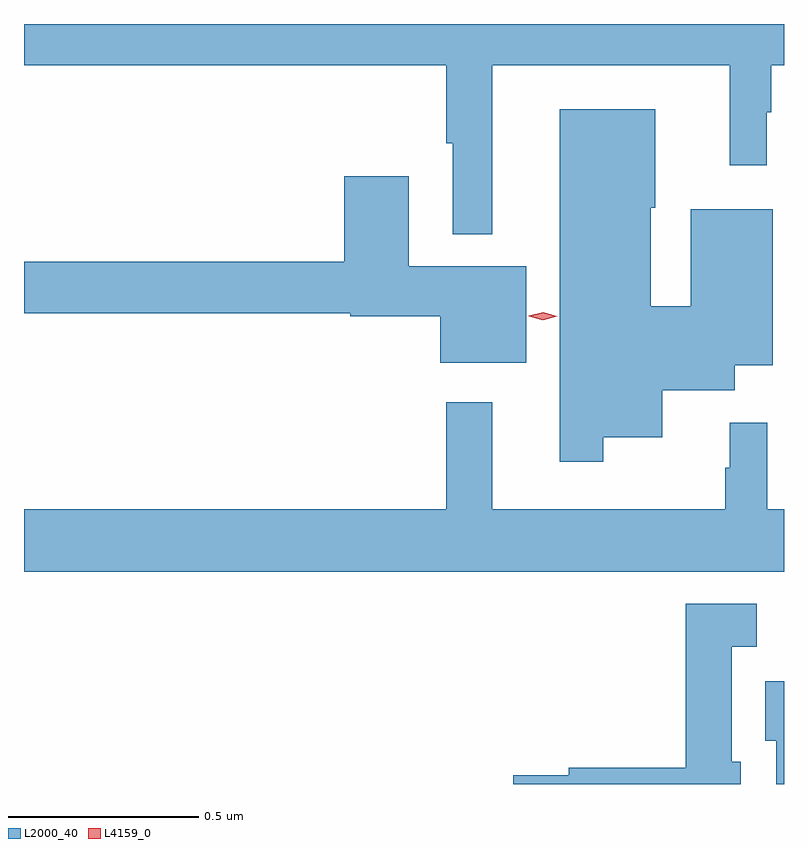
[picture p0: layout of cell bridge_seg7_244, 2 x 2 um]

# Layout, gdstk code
import gdstk
lib = gdstk.Library(unit=1e-6, precision=1e-09)
def P(c, l, *ps):  # polygons
    for p in ps: c.add(gdstk.Polygon(p, *l))
L2000_40 = (2000, 40)
L4159_0 = (4159, 0)

bridge_seg7_244 = lib.new_cell('bridge_seg7_244')
P(bridge_seg7_244, L2000_40, [(268.285,1063.22),(268.91,1063.22),(268.91,1062.957),(269.008,1062.957),(269.008,1063.097),(269.02,1063.097),(269.02,1063.22),(269.053,1063.22),(269.053,1063.329),(267.053,1063.329),(267.053,1063.22),(268.164,1063.22),(268.164,1063.015),(268.181,1063.015),(268.181,1062.776),(268.285,1062.776)],
  [(268.577,1062.242),(268.732,1062.242),(268.732,1062.365),(268.924,1062.365),(268.924,1062.431),(269.023,1062.431),(269.023,1062.841),(268.808,1062.841),(268.808,1062.586),(268.702,1062.586),(268.702,1062.846),(268.714,1062.846),(268.714,1063.105),(268.463,1063.105),(268.463,1062.177),(268.577,1062.177)],
  [(268.375,1062.691),(268.066,1062.691),(268.066,1062.928),(267.896,1062.928),(267.896,1062.704),(267.053,1062.704),(267.053,1062.568),(267.912,1062.568),(267.912,1062.56),(268.148,1062.56),(268.148,1062.437),(268.375,1062.437)],
  [(269.053,1062.052),(269.009,1062.052),(269.009,1062.28),(268.91,1062.28),(268.91,1062.161),(268.899,1062.161),(268.899,1062.052),(268.285,1062.052),(268.285,1062.334),(268.164,1062.334),(268.164,1062.052),(267.053,1062.052),(267.053,1061.888),(269.053,1061.888)],
  [(268.939,1061.388),(268.915,1061.388),(268.915,1061.69),(268.981,1061.69),(268.981,1061.803),(268.794,1061.803),(268.794,1061.372),(268.486,1061.372),(268.486,1061.352),(268.34,1061.352),(268.34,1061.329),(268.939,1061.329)],
  [(269.053,1061.599),(269.003,1061.599),(269.003,1061.443),(269.033,1061.443),(269.033,1061.329),(269.053,1061.329)])
P(bridge_seg7_244, L4159_0, [(268.418,1062.55),(268.381,1062.56),(268.381,1062.561),(268.381,1062.561),(268.419,1062.57),(268.456,1062.56),(268.456,1062.56),(268.456,1062.56)])

lib.write_gds('bridge_seg7_244.gds')
